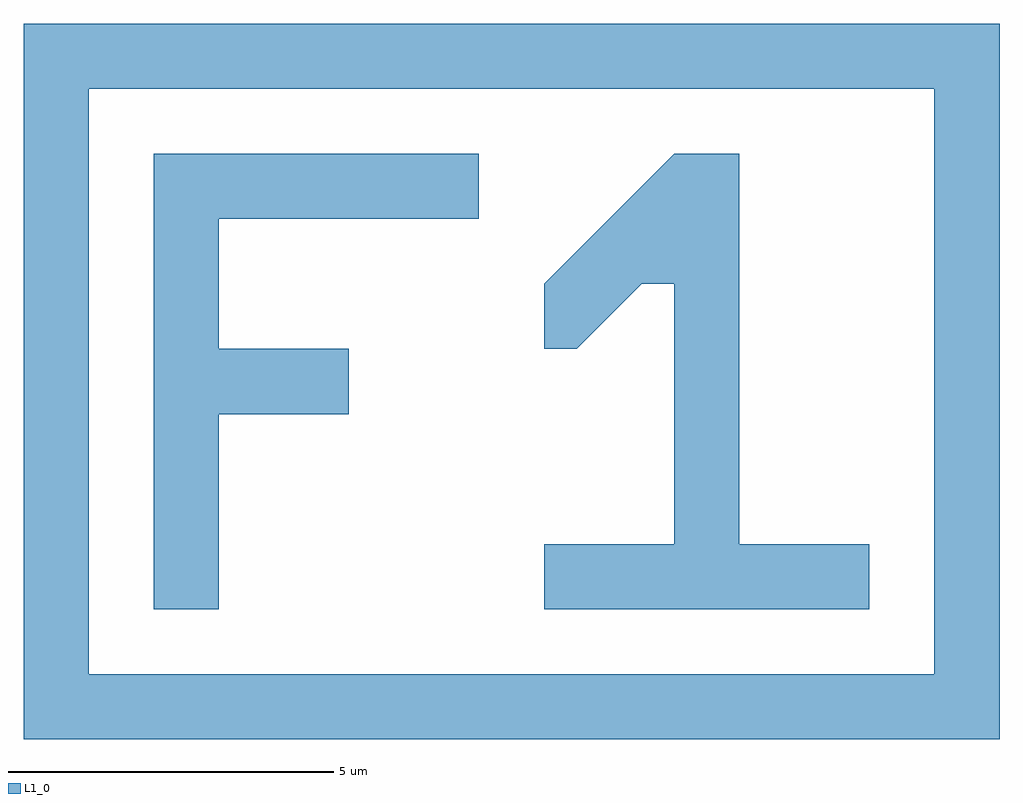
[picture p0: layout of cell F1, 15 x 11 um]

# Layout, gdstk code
import gdstk
lib = gdstk.Library(unit=1e-6, precision=1e-08)
def P(c, l, *ps):  # polygons
    for p in ps: c.add(gdstk.Polygon(p, *l))
L1_0 = (1, 0)

text = lib.new_cell('TEXT')
P(text, L1_0, [(0,0),(0,7),(5,7),(5,6),(1,6),(1,4),(3,4),(3,3),(1,3),(1,0)],
  [(6,0),(6,1),(8,1),(8,5),(7.5,5),(6.5,4),(6,4),(6,5),(8,7),(9,7),(9,1),(11,1),(11,0)])

c_f1 = lib.new_cell('F1')
c_f1.add(gdstk.FlexPath([(0.5,0.5),(0.5,10.5),(14.5,10.5),(14.5,0.5),(0.5,0.5)], 1, ends="extended", simple_path=True, layer=1, datatype=0))  # L1_0
c_f1.add(gdstk.Reference(text, (2,2)))

lib.write_gds('F1.gds')
